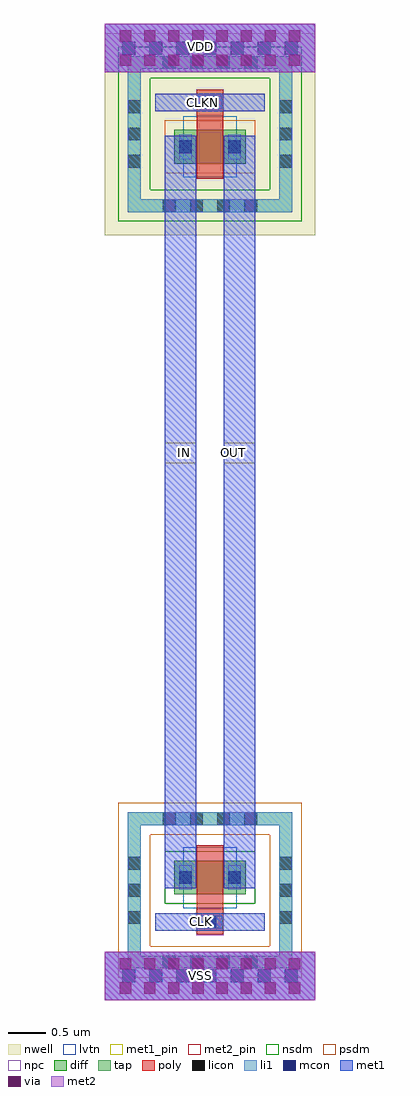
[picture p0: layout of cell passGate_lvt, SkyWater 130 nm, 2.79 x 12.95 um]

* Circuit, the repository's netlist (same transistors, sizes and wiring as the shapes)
** sch_path: /foss/designs/RO_Aging_UNICASS/LVT/passgate_LVT/passgate_LVT.sch
.subckt passgate_LVT CLKN IN OUT CLK GND VDD
*.PININFO CLKN:B CLK:B IN:B OUT:B VDD:B GND:B
M3 IN CLK OUT GND sky130_fd_pr__nfet_01v8_lvt L=0.35 W=0.45 nf=1 m=1
M1 IN CLKN OUT VDD sky130_fd_pr__pfet_01v8_lvt L=0.35 W=0.45 nf=1 m=1
.ends
.end

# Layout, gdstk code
import gdstk
lib = gdstk.Library(unit=1e-6, precision=1e-09)
def R(c, l, rs):  # rectangles x0, y0, x1, y1
    for r in rs: c.add(gdstk.rectangle(r[:2], r[2:], *l))
def A(c, l, x, y, w, h, nx, ny, dx, dy):  # array of equal rectangles
    R(c, l, [(x+i*dx, y+j*dy, x+i*dx+w, y+j*dy+h) for i in range(nx) for j in range(ny)])
def P(c, l, *ps):  # polygons
    for p in ps: c.add(gdstk.Polygon(p, *l))
nwell = (64, 20)
diff = (65, 20)
tap = (65, 44)
poly = (66, 20)
licon = (66, 44)
li1 = (67, 20)
mcon = (67, 44)
met1_pin = (68, 16)
met1 = (68, 20)
via = (68, 44)
met2_pin = (69, 16)
met2 = (69, 20)
nsdm = (93, 44)
psdm = (94, 20)
npc = (95, 20)
lvtn = (125, 44)

vias_gen = lib.new_cell('vias_gen')
R(vias_gen, li1, [(0,0,2.79,0.64)])
A(vias_gen, mcon, 0.23, 0.235, 0.17, 0.17, 7, 1, 0.36, 0)
R(vias_gen, met1, [(0,0,2.79,0.64)])
A(vias_gen, via, 0.2, 0.085, 0.15, 0.15, 8, 2, 0.32, 0.32)
R(vias_gen, met2, [(0,0,2.79,0.64)])

pfet = lib.new_cell('pfet')
R(pfet, nwell, [(-0.92,-0.945,1.87,1.735)])
R(pfet, diff, [(0,0,0.95,0.45)])
P(pfet, tap, [(-0.615,-0.64),(-0.615,1.26),(-0.445,1.26),(-0.445,-0.47),(1.395,-0.47),(1.395,1.26),(-0.615,1.26),(-0.615,1.43),(1.565,1.43),(1.565,-0.64)])
R(pfet, poly, [(0.3,-0.2,0.65,0.65), (0.3,0.65,0.65,0.98)])
A(pfet, licon, -0.15, -0.64, 0.17, 0.17, 4, 2, 0.36, 1.9)
A(pfet, licon, -0.615, -0.05, 0.17, 0.17, 1, 3, 0, 0.36)
A(pfet, licon, 1.395, -0.05, 0.17, 0.17, 1, 3, 0, 0.36)
R(pfet, licon, [(0.065,0.14,0.235,0.31), (0.715,0.14,0.885,0.31), (0.39,0.73,0.56,0.9)])
R(pfet, li1, [(0.065,0.06,0.235,0.39), (0.715,0.06,0.885,0.39), (0.31,0.73,0.64,0.9)])
P(pfet, li1, [(-0.615,-0.64),(-0.615,1.26),(-0.445,1.26),(-0.445,-0.47),(1.395,-0.47),(1.395,1.26),(-0.615,1.26),(-0.615,1.43),(1.565,1.43),(1.565,-0.64)])
R(pfet, mcon, [(0.065,0.14,0.235,0.31), (0.715,0.14,0.885,0.31), (0.39,0.73,0.56,0.9)])
R(pfet, met1, [(0.005,0.08,0.295,0.37), (0.655,0.08,0.945,0.37), (0.29,0.7,0.66,0.93)])
P(pfet, nsdm, [(-0.74,-0.765),(-0.74,1.135),(-0.32,1.135),(-0.32,-0.345),(1.27,-0.345),(1.27,1.135),(-0.74,1.135),(-0.74,1.555),(1.69,1.555),(1.69,-0.765)])
R(pfet, psdm, [(-0.125,-0.125,1.075,0.575)])
R(pfet, npc, [(0.29,0.64,0.66,0.99)])
R(pfet, lvtn, [(0.12,-0.18,0.83,0.63)])

nfet_1 = lib.new_cell('nfet$1')
R(nfet_1, diff, [(0,0,0.95,0.45)])
P(nfet_1, tap, [(-0.615,-0.98),(-0.615,0.92),(-0.445,0.92),(-0.445,-0.81),(1.395,-0.81),(1.395,0.92),(-0.615,0.92),(-0.615,1.09),(1.565,1.09),(1.565,-0.98)])
R(nfet_1, poly, [(0.3,-0.53,0.65,-0.2), (0.3,-0.2,0.65,0.65)])
A(nfet_1, licon, -0.15, -0.98, 0.17, 0.17, 4, 2, 0.36, 1.9)
A(nfet_1, licon, -0.615, -0.39, 0.17, 0.17, 1, 3, 0, 0.36)
A(nfet_1, licon, 1.395, -0.39, 0.17, 0.17, 1, 3, 0, 0.36)
R(nfet_1, licon, [(0.39,-0.45,0.56,-0.28), (0.065,0.14,0.235,0.31), (0.715,0.14,0.885,0.31)])
R(nfet_1, li1, [(0.31,-0.45,0.64,-0.28), (0.065,0.06,0.235,0.39), (0.715,0.06,0.885,0.39)])
P(nfet_1, li1, [(-0.615,-0.98),(-0.615,0.92),(-0.445,0.92),(-0.445,-0.81),(1.395,-0.81),(1.395,0.92),(-0.615,0.92),(-0.615,1.09),(1.565,1.09),(1.565,-0.98)])
R(nfet_1, mcon, [(0.39,-0.45,0.56,-0.28), (0.065,0.14,0.235,0.31), (0.715,0.14,0.885,0.31)])
R(nfet_1, met1, [(0.29,-0.48,0.66,-0.25), (0.005,0.08,0.295,0.37), (0.655,0.08,0.945,0.37)])
R(nfet_1, nsdm, [(-0.125,-0.125,1.075,0.575)])
P(nfet_1, psdm, [(-0.74,-1.105),(-0.74,0.795),(-0.32,0.795),(-0.32,-0.685),(1.27,-0.685),(1.27,0.795),(-0.74,0.795),(-0.74,1.215),(1.69,1.215),(1.69,-1.105)])
R(nfet_1, npc, [(0.29,-0.54,0.66,-0.19)])
R(nfet_1, lvtn, [(0.12,-0.18,0.83,0.63)])

passgate_lvt = lib.new_cell('passGate_lvt')
R(passgate_lvt, met1_pin, [(-0.11,-1.435,1.34,-1.205), (0.015,4.77,0.435,5.04), (0.795,4.77,1.215,5.04), (-0.11,9.44,1.34,9.67)])
R(passgate_lvt, met1, [(-0.11,-1.435,1.34,-1.205), (0.015,-0.875,0.435,9.11), (0.795,-0.875,1.215,9.11), (-0.11,9.44,1.34,9.67)])
R(passgate_lvt, met2_pin, [(-0.78,-2.355,2.01,-1.715), (-0.78,9.955,2.01,10.595)])
passgate_lvt.add(gdstk.Reference(vias_gen, (-0.78,-2.355)))
passgate_lvt.add(gdstk.Reference(vias_gen, (-0.78,9.955)))
passgate_lvt.add(gdstk.Reference(pfet, (0.14,8.74)))
passgate_lvt.add(gdstk.Reference(nfet_1, (0.14,-0.955)))
passgate_lvt.add(gdstk.Label('CLKN', (0.515,9.555), layer=68, texttype=5))
passgate_lvt.add(gdstk.Label('CLK', (0.505,-1.32), layer=68, texttype=5))
passgate_lvt.add(gdstk.Label('OUT', (0.93,4.91), layer=68, texttype=5))
passgate_lvt.add(gdstk.Label('IN', (0.28,4.905), layer=68, texttype=5))
passgate_lvt.add(gdstk.Label('VDD', (0.485,10.3), layer=69, texttype=5))
passgate_lvt.add(gdstk.Label('VSS', (0.485,-2.025), layer=69, texttype=5))

lib.write_gds('passGate_lvt.gds')
